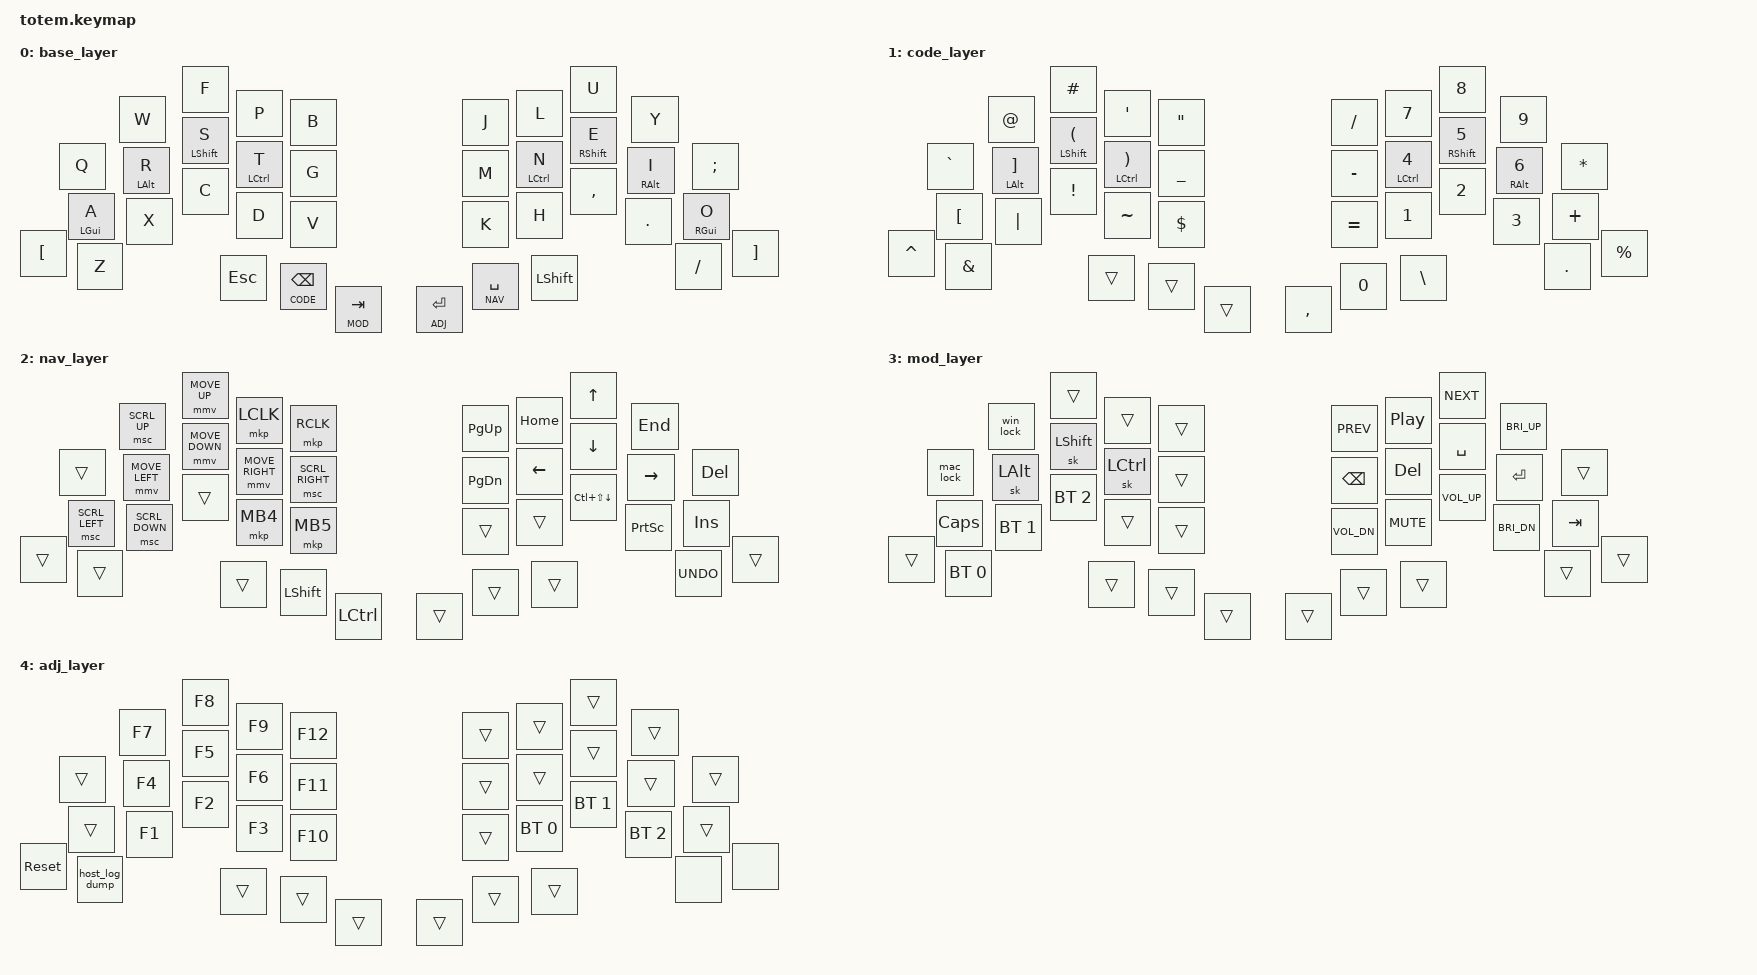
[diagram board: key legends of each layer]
/*
 * Studio snippet defines ZMK_BEHAVIORS_KEEP_ALL, which compiles every unused
 * stock behavior and is how an nRF52840 with a USB console runs out of RAM.
 * Undefining it restores the normal rule: only behaviors the keymap (or an
 * explicit KEEP_*) references are built. Harmless on non-Studio images.
 */
#undef ZMK_BEHAVIORS_KEEP_ALL
/* Useful in the Studio palette even if the compiled keymap never binds them. */
#define ZMK_BEHAVIORS_KEEP_NONE
#define ZMK_BEHAVIORS_KEEP_OUT

#include <behaviors.dtsi>
#include <dt-bindings/zmk/keys.h>
#include <dt-bindings/zmk/bt.h>
#include <dt-bindings/zmk/outputs.h>
#include <dt-bindings/zmk/pointing.h>

#define BASE 0
#define CODE 1
#define NAV  2
#define MOD  3
#define ADJ  4

/ {
    behaviors {
        /*
         * tapping-term-ms 200 -> 280 (2026-07-30).
         *
         * A hold-tap decides "hold" when the key is still down at the end of the
         * term. Across a split, that decision uses when the RELEASE ARRIVES, not
         * when the key was physically released -- and the release crosses the BLE
         * link. The right half was caught scanning `i` (&hmr RALT I) with press and
         * release only 78 ms apart, comfortably a tap, while ALT latched on anyway:
         * the release reached the central late and the term had already expired.
         *
         * A latched modifier then turns every following key into Alt+key, which
         * produces nothing visible. That is what "the right half stopped typing"
         * has been all along -- the right half is fine (4208 scans -> 4208 position
         * events -> 4208 split sends, every press matched by a release, measured
         * during a reported outage) and the central relays in 0 ms median.
         *
         * It also explains why plugging in USB "fixed" it without a reboot: an
         * endpoint change calls zmk_endpoint_clear_reports(), which releases the
         * stuck modifier. BT_SEL does the same, so Tab+Z is the one-key recovery.
         *
         * 280 ms gives a delayed release ~100 ms more room to still count as a tap.
         *
         * 2026-07-30, second attempt: 280 ms was NOT enough -- ALT still latched
         * (observed unambiguously: macOS dictation is bound to an Alt hold, and it
         * fired mid-typing for about a second). Adding hold-trigger-on-release.
         *
         * That changes the decision from a TIMER to an EVENT. Without it the hold
         * fires as soon as an opposite-hand key is seen while this key is still
         * down -- and across a split, "still down" means "its release has not
         * arrived yet", which is exactly what a delayed release looks like. With
         * it, the hold is only considered once the OTHER key is RELEASED, so a late
         * release is still a release rather than a timeout. Transport delay stops
         * being able to manufacture a hold.
         *
         * Cost: a rolling chord like "sh" that used to fire a mod on the way down
         * now waits for the release, so intentional mods feel slightly later. That
         * is the intended trade -- a missed mod costs one keystroke, a latched mod
         * costs everything typed until it clears.
         */
        hml: homerow_mods_left {
            compatible = "zmk,behavior-hold-tap";
            #binding-cells = <2>;
            tapping-term-ms = <280>;
            quick-tap-ms = <175>;
            require-prior-idle-ms = <150>;
            flavor = "balanced";
            bindings = <&kp>, <&kp>;
            // only fire the mod when chorded with an opposite-hand (right) key
            hold-trigger-key-positions = <5 6 7 8 9 15 16 17 18 19 26 27 28 29 30 31 35 36 37>;
            hold-trigger-on-release;
        };
        
        /* Same reasoning as hml above -- and this is the one that produced the
         * reported symptom, since `i` is &hmr RALT I. */
        hmr: homerow_mods_right {
            compatible = "zmk,behavior-hold-tap";
            #binding-cells = <2>;
            tapping-term-ms = <280>;
            quick-tap-ms = <175>;
            require-prior-idle-ms = <150>;
            flavor = "balanced";
            bindings = <&kp>, <&kp>;
            // only fire the mod when chorded with an opposite-hand (left) key
            hold-trigger-key-positions = <0 1 2 3 4 10 11 12 13 14 20 21 22 23 24 25 32 33 34>;
            hold-trigger-on-release;
        };
        
        td_bs_pipe: backslash_pipe {
            compatible = "zmk,behavior-hold-tap";
            #binding-cells = <2>;
            tapping-term-ms = <200>;
            flavor = "tap-preferred";
            bindings = <&kp>, <&kp>;
        };

        // Dump multi-profile host event ring to USB serial (printk).
        // Used by combo [ + X and ADJ layer. Requires USB CDC console
        // (totem_left_logging or CONFIG_ZMK_USB_LOGGING) to *see* the dump;
        // capture itself works on production BLE without USB.
        host_log_dump: host_log_dump {
            compatible = "zmk,behavior-totem-host-log-dump";
            #binding-cells = <0>;
        };
    };

    combos {
        compatible = "zmk,combos";
        
        combo_esc {
            timeout-ms = <50>;
            key-positions = <0 1>;
            bindings = <&kp ESC>;
            layers = <0>; 
        };
        
        combo_dictation {
            timeout-ms = <50>;
            key-positions = <26 27>;
            bindings = <&kp LA(SPACE)>;
            slow-release;
            layers = <0>; 
        };
        
        combo_enye {
            timeout-ms = <50>;
            key-positions = <8 9>;
            bindings = <&kp RA(N)>;
            layers = <0>;
        };

        // Left-half-ONLY reset. Both keys (20 = outer [ , 21 = Z) are on the LEFT
        // half, so this fires WITHOUT the split link and without the right half.
        // The Enter+[ combo can't do this: Enter is on the right half and needs the
        // split link to arrive. Diagnostic when stuck:
        //   fires (left half reboots) -> CPU alive, BLE-stack hang -> keypress recovery viable
        //   does nothing              -> full MCU freeze -> hardware watchdog needed
        // Keep recovery chords on BASE so their physical positions cannot trigger
        // unexpectedly while another layer is active.
        combo_reset_left {
            timeout-ms = <50>;
            key-positions = <20 21>;
            bindings = <&sys_reset>;
            layers = <BASE>;
        };

        // Left-half-ONLY host event log dump: [ (20) + X (22).
        // Distinct from [ + Z reset. Capture runs all day on production UF2;
        // dump prints over USB serial when a console is present.
        combo_host_log_dump {
            timeout-ms = <50>;
            key-positions = <20 22>;
            bindings = <&host_log_dump>;
            layers = <BASE>;
        };

        // Studio unlock: Q (0) + B (4), two plain &kp keys. Esc+Tab used the MOD
        // layer-tap thumb, so the combo often missed.
        // Not wrapped in #ifdef CONFIG_ZMK_STUDIO: Studio is turned on by
        // build.yaml/snippet Kconfig, which the keymap preprocessor can't see,
        // so the guard always left the combo out.
        combo_studio_unlock {
            timeout-ms = <80>;
            key-positions = <0 4>;
            bindings = <&studio_unlock>;
            layers = <BASE>;
        };
    };

    macros {
        mac_lock: mac_lock_screen {
            compatible = "zmk,behavior-macro";
            #binding-cells = <0>;
            bindings = <&macro_press &kp LGUI &kp LCTRL>
                     , <&macro_pause_for_release>
                     , <&macro_tap &kp Q>
                     , <&macro_release &kp LGUI &kp LCTRL>;
        };
        
        win_lock: win_lock_screen {
            compatible = "zmk,behavior-macro";
            #binding-cells = <0>;
            bindings = <&macro_press &kp LGUI>
                     , <&macro_tap &kp L>
                     , <&macro_release &kp LGUI>;
        };
    };

    keymap {
        compatible = "zmk,keymap";

    base_layer {
        bindings = <
                &kp Q           &kp W           &kp F           &kp P           &kp B               &kp J           &kp L           &kp U           &kp Y           &kp SEMI
                &hml LGUI A     &hml LALT R     &hml LSHFT S    &hml LCTRL T    &kp G               &kp M           &hmr LCTRL N    &hmr RSHFT E    &hmr RALT I     &hmr RGUI O
     &kp LBKT   &kp Z           &kp X           &kp C           &kp D           &kp V               &kp K           &kp H           &kp COMMA       &kp DOT         &kp FSLH        &kp RBKT
                                         &kp ESC         &lt CODE BSPC       &lt MOD TAB     &lt ADJ ENTER   &lt NAV SPACE   &kp LSHFT
        >;
    };
code_layer {
        bindings = <
            &kp GRAVE       &kp AT          &kp HASH        &kp SQT         &kp DQT             &kp FSLH        &kp N7          &kp N8          &kp N9          &kp STAR
            &kp LBKT        &hml LALT RBKT  &hml LSHFT LPAR &hml LCTRL RPAR &kp UNDER           &kp MINUS       &hmr LCTRL N4   &hmr RSHFT N5   &hmr RALT N6    &kp PLUS
            &kp CARET       &kp AMPS        &kp PIPE        &kp EXCL        &kp TILDE           &kp DLLR        &kp EQUAL       &kp N1          &kp N2          &kp N3          &kp DOT         &kp PRCNT
                                                            &trans          &trans              &trans          &kp COMMA       &kp N0          &kp BSLH
        >;
    };
nav_layer {
            bindings = <
                &trans          &msc SCRL_UP    &mmv MOVE_UP    &mkp LCLK       &mkp RCLK           &kp PG_UP       &kp HOME        &kp UP          &kp END         &kp DEL
                &msc SCRL_LEFT  &mmv MOVE_LEFT  &mmv MOVE_DOWN  &mmv MOVE_RIGHT &msc SCRL_RIGHT     &kp PG_DN       &kp LEFT        &kp DOWN        &kp RIGHT       &kp INS
                &trans          &trans          &msc SCRL_DOWN  &trans          &mkp MB4            &mkp MB5        &trans          &trans        &kp LC(LS(DOWN))  &kp PSCRN       &kp K_UNDO      &trans
                                                                &trans          &kp LSHFT           &kp LCTRL       &trans          &trans          &trans
            >;
        };
mod_layer {
            bindings = <
                &mac_lock       &win_lock       &trans          &trans          &trans              &kp C_PREV      &kp C_PP        &kp C_NEXT      &kp C_BRI_UP    &trans
                &kp CAPS        &sk LALT        &sk LSHFT       &sk LCTRL       &trans              &kp BSPC        &kp DEL         &kp SPACE       &kp ENTER       &kp TAB
                // LEFT-HALF-ONLY host selection (21-23). MOD is the left Tab thumb (34),
                // so Tab+Z/X/C reach the central WITHOUT the split link -- the ADJ copies
                // need the right-half Enter thumb, which is useless when the right half is
                // dead, unpaired, or flat. That is the whole point of putting them here.
                //
                // Deliberately NO BT_CLR / BT_CLR_ALL on this row. c6da84f put them at
                // Tab+D and Tab+V, two keys from Tab+Z, and on 2026-07-26 profiles 0 and 2
                // were wiped while pressing recovery keys under stress -- the signature was
                // unmistakable (only bonded profiles cleared, active forced to 0, which is
                // exactly what zmk_ble_clear_all_bonds() does). Destructive, unconfirmed
                // bindings do not belong next to the ones you reach for in a panic.
                // Clear a bond only by assigning it temporarily in the USB configurator;
                // settings_reset covers the nuclear case.
                &trans          &bt BT_SEL 0    &bt BT_SEL 1    &bt BT_SEL 2    &trans              &trans          &kp C_VOL_DN    &kp C_MUTE      &kp C_VOL_UP    &kp C_BRI_DN    &trans          &trans
                                                                &trans          &trans              &trans          &trans          &trans          &trans
            >;
        };
adj_layer {
            bindings = <
                // Bond clearing is deliberately absent from the compiled keymap. Both
                // BT_CLR and BT_CLR_ALL are destructive and can be assigned temporarily
                // from the configurator over USB when intentional recovery is required.
                &trans          &kp F7          &kp F8          &kp F9          &kp F12             &trans          &trans          &trans          &trans          &trans
                // BT_SEL 3 / BT_SEL 4 removed 2026-07-25. Only three hosts are ever
                // used, so those bindings did nothing but arm a trap: selecting an
                // unpaired profile made exclusive host evict the only bonded computer
                // on every connect attempt, with no automatic way back. The firmware
                // guard (TOTEM_EVICT_REQUIRES_BONDED_ACTIVE) now survives that state;
                // this removes the easiest way to reach it.
                &trans          &kp F4          &kp F5          &kp F6          &kp F11             &trans          &trans          &trans          &trans          &trans
                &sys_reset      &host_log_dump  &kp F1          &kp F2          &kp F3              &kp F10         &trans          &bt BT_SEL 0    &bt BT_SEL 1    &bt BT_SEL 2    &none           &none
                                                                &trans          &trans              &trans          &trans          &trans          &trans
            >;
        };

        // Blank headroom for ZMK Studio's live layer add/move/remove/rename
        // (stock ZMK keymap subsystem, unrelated to Runtime Config). Reserved
        // layers don't need bindings/display-name; Studio names and populates
        // them when a user adds one live. See docs/features/studio.md
        // "Including Extra Layers" in the zmk-next firmware tree.
        reserved_1 { status = "reserved"; };
        reserved_2 { status = "reserved"; };
        reserved_3 { status = "reserved"; };
        reserved_4 { status = "reserved"; };
        reserved_5 { status = "reserved"; };
    };
};

&sk {
    release-after-ms = <2000>;
    quick-release;
};
